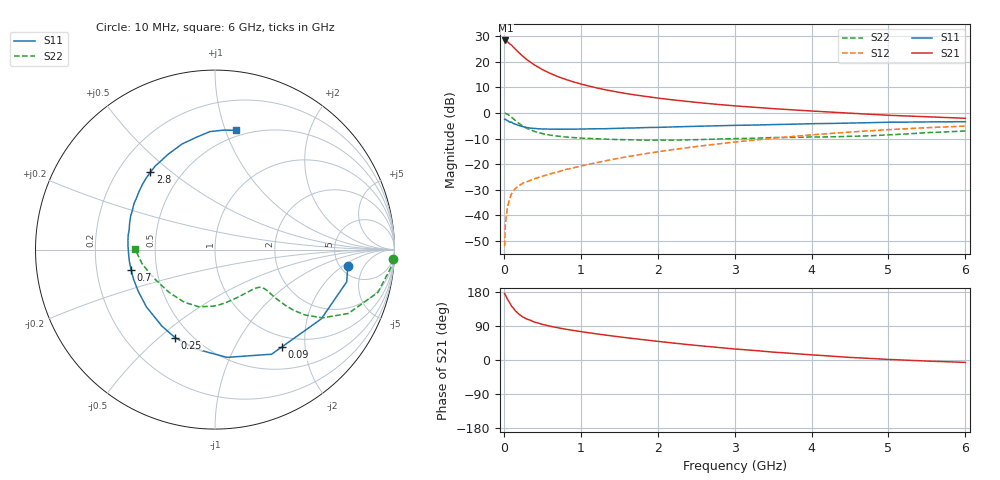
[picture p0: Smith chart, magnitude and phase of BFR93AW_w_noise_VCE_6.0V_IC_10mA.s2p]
! Infineon Technologies  Discrete & RF Semiconductors
! BFR93AW
! VCE =  6.0 V,  IC =  10 mA
! Common Emitter S-Parameters:  Jan 2017
# GHz  S  MA  R  50
!  f  S11  S21  S12  S22
! GHz  MAG  ANG  MAG  ANG  MAG  ANG  MAG  ANG
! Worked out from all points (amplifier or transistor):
!   77 points, 10 MHz to 6 GHz, reference 50 ohm
!   highest |S21| = 28.3 dB at 20 MHz (marker M1)
!   |S21| within 3 dB of that: start of sweep to 137 MHz
!   unconditionally stable (mu >= 1): 869.2 MHz to 2.108 GHz
!   at 130 MHz: K = 0.30, MSG = 27.9 dB, |S12| = -30.3 dB
!   at 2.2 GHz: K = 0.99, MSG = 9.7 dB, |S12| = -14.3 dB
!   at 6 GHz: K = 0.87, MSG = 1.5 dB, |S12| = -5.1 dB
!   lowest NFmin = 1.25 dB at 450 MHz
!   S11 on the Smith chart (normalised r, x): 10 MHz: 5.87, -2.36; 90 MHz: 0.82, -1.57; 250 MHz: 0.41, -0.57; 700 MHz: 0.35, -0.10; 2.8 GHz: 0.34, +0.42; 6 GHz: 0.44, +1.08
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0.01  0.7451 -6.9  25.78 175.5  0.0025 85.9  0.9938 -3.0
0.02  0.7556 -13.7  26.02 171.4  0.0064 90.8  0.9821 -6.3
0.05  0.7069 -33.1  24.38 159.2  0.015 74.0  0.9386 -14.7
0.09  0.6579 -55.7  21.53 146.0  0.0242 65.9  0.8439 -23.2
0.1  0.6627 -61.6  21.02 142.2  0.0265 64.8  0.8235 -25.6
0.15  0.604 -83.7  17.62 129.6  0.0335 57.1  0.7094 -32.4
0.2  0.564 -100.8  14.82 120.3  0.0381 54.3  0.6195 -36.0
0.25  0.5385 -114.4  12.65 113.2  0.0429 51.7  0.5514 -37.7
0.3  0.5186 -124.9  10.95 108.0  0.0453 51.6  0.4996 -38.4
0.4  0.498 -140.1  8.599 99.9  0.052 52.4  0.4341 -38.7
0.5  0.4867 -151.5  7.029 94.1  0.0579 54.3  0.3944 -38.4
0.6  0.4829 -159.9  5.951 89.3  0.0643 56.2  0.3691 -38.2
0.7  0.4809 -166.6  5.142 85.2  0.0704 58.1  0.3523 -38.3
0.9  0.4821 -177.4  4.052 78.1  0.0844 60.7  0.3305 -39.6
1.1  0.4877 174.1  3.362 72.0  0.0991 63.0  0.3181 -41.9
1.5  0.501 160.9  2.521 61.2  0.1309 64.8  0.3014 -49.3
2.1  0.5271 144.9  1.874 47.1  0.1831 64.1  0.2941 -65.4
2.8  0.5621 129.8  1.459 32.8  0.2496 60.5  0.31 -86.4
3.1  0.5748 123.7  1.342 27.6  0.2794 58.1  0.317 -94.9
4.1  0.6188 105.8  1.069 12.3  0.3827 48.5  0.3392 -123.7
5.1  0.6594 91.1  0.888 0.7  0.4796 36.9  0.3791 -157.1
6  0.6746 80.2  0.786 -6.4  0.5538 25.9  0.445 179.9
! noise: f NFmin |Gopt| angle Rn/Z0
0.45  1.25  0.15  94  0.13
0.9  1.55  0.24  150  0.14
1.9  2.61  0.47  -148  0.18
2.4  3.24  0.54  -131  0.36
